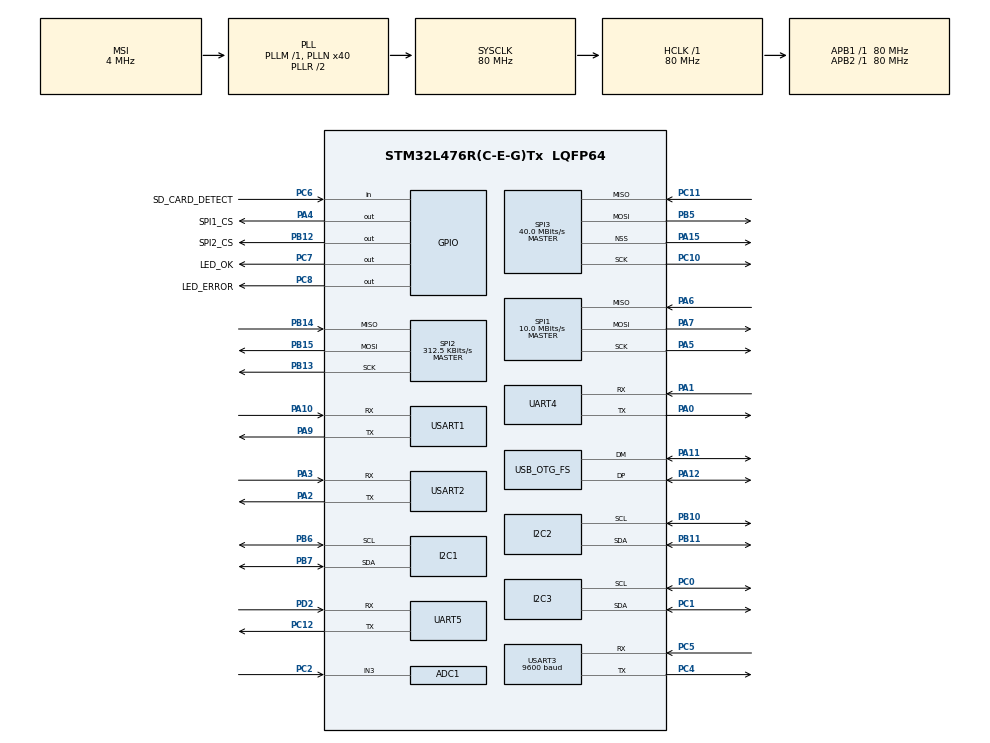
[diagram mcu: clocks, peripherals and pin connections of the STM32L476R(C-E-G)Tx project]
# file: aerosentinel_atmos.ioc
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ADC1.Channel-0\#ChannelRegularConversion=ADC_CHANNEL_3
ADC1.ClockPrescaler=ADC_CLOCK_ASYNC_DIV8
ADC1.NbrOfConversionFlag=1
ADC1.OffsetNumber-0\#ChannelRegularConversion=ADC_OFFSET_NONE
ADC1.Rank-0\#ChannelRegularConversion=1
ADC1.SamplingTime-0\#ChannelRegularConversion=ADC_SAMPLETIME_2CYCLES_5
ADC1.master=1
Dma.ADC1.0.Direction=DMA_PERIPH_TO_MEMORY
Dma.ADC1.0.Instance=DMA1_Channel1
Dma.ADC1.0.MemDataAlignment=DMA_MDATAALIGN_HALFWORD
Dma.ADC1.0.MemInc=DMA_MINC_ENABLE
Dma.ADC1.0.Mode=DMA_NORMAL
Dma.ADC1.0.PeriphDataAlignment=DMA_PDATAALIGN_HALFWORD
Dma.ADC1.0.PeriphInc=DMA_PINC_DISABLE
Dma.ADC1.0.Priority=DMA_PRIORITY_LOW
Dma.Request0=ADC1
FATFS._FS_LOCK=5
FATFS._USE_LFN=1
I2C1.Timing=0x10D19CE4
I2C2.Timing=0x10D19CE4
I2C3.Timing=0x10D19CE4
Mcu.Family=STM32L4
Mcu.Name=STM32L476R(C-E-G)Tx
Mcu.Package=LQFP64
NVIC.DMA1_Channel1_IRQn=true\:0\:0\:false\:false\:true\:false\:true\:true
NVIC.PriorityGroup=NVIC_PRIORITYGROUP_4
NVIC.USART3_IRQn=true\:2\:0\:true\:false\:true\:true\:true\:true
PA0.Mode=Asynchronous
PA0.Signal=UART4_TX
PA1.Mode=Asynchronous
PA1.Signal=UART4_RX
PA10.Mode=Asynchronous
PA10.Signal=USART1_RX
PA11.Mode=Device_Only
PA11.Signal=USB_OTG_FS_DM
PA12.Mode=Device_Only
PA12.Signal=USB_OTG_FS_DP
PA13\ (JTMS-SWDIO).Mode=Trace_Asynchronous_SW
PA13\ (JTMS-SWDIO).Signal=SYS_JTMS-SWDIO
PA14\ (JTCK-SWCLK).Mode=Trace_Asynchronous_SW
PA14\ (JTCK-SWCLK).Signal=SYS_JTCK-SWCLK
PA15\ (JTDI).Mode=NSS_Signal_Hard_Output
PA15\ (JTDI).Signal=SPI3_NSS
PA2.Mode=Asynchronous
PA2.Signal=USART2_TX
PA3.Mode=Asynchronous
PA3.Signal=USART2_RX
PA4.GPIO_Label=SPI1_CS
PA4.Signal=GPIO_Output
PA5.Mode=Full_Duplex_Master
PA5.Signal=SPI1_SCK
PA6.Mode=Full_Duplex_Master
PA6.Signal=SPI1_MISO
PA7.Mode=Full_Duplex_Master
PA7.Signal=SPI1_MOSI
PA9.Mode=Asynchronous
PA9.Signal=USART1_TX
PB10.Mode=I2C
PB10.Signal=I2C2_SCL
PB11.Mode=I2C
PB11.Signal=I2C2_SDA
PB12.GPIO_Label=SPI2_CS
PB12.GPIO_PuPd=GPIO_PULLUP
PB12.PinState=GPIO_PIN_SET
PB12.Signal=GPIO_Output
PB13.GPIO_PuPd=GPIO_PULLUP
PB13.Mode=Full_Duplex_Master
PB13.Signal=SPI2_SCK
PB14.GPIO_PuPd=GPIO_PULLUP
PB14.Mode=Full_Duplex_Master
PB14.Signal=SPI2_MISO
PB15.GPIO_PuPd=GPIO_PULLUP
PB15.Mode=Full_Duplex_Master
PB15.Signal=SPI2_MOSI
PB3\ (JTDO-TRACESWO).Mode=Trace_Asynchronous_SW
PB3\ (JTDO-TRACESWO).Signal=SYS_JTDO-SWO
PB5.Mode=Full_Duplex_Master
PB5.Signal=SPI3_MOSI
PB6.Mode=I2C
PB6.Signal=I2C1_SCL
PB7.Mode=I2C
PB7.Signal=I2C1_SDA
PC0.Mode=I2C
PC0.Signal=I2C3_SCL
PC1.Mode=I2C
PC1.Signal=I2C3_SDA
PC10.Mode=Full_Duplex_Master
PC10.Signal=SPI3_SCK
PC11.Mode=Full_Duplex_Master
PC11.Signal=SPI3_MISO
PC12.Mode=Asynchronous
PC12.Signal=UART5_TX
PC2.Signal=ADCx_IN3
PC4.Mode=Asynchronous
PC4.Signal=USART3_TX
PC5.Mode=Asynchronous
PC5.Signal=USART3_RX
PC6.GPIO_Label=SD_CARD_DETECT
PC6.Signal=GPIO_Input
PC7.GPIO_Label=LED_OK
PC7.Signal=GPIO_Output
PC8.GPIO_Label=LED_ERROR
PC8.Signal=GPIO_Output
PD2.Mode=Asynchronous
PD2.Signal=UART5_RX
ProjectManager.HeapSize=0x200
ProjectManager.StackSize=0x400
ProjectManager.TargetToolchain=STM32CubeIDE
RCC.ADCFreq_Value=48000000
RCC.AHBFreq_Value=80000000
RCC.APB1Freq_Value=80000000
RCC.APB1TimFreq_Value=80000000
RCC.APB2Freq_Value=80000000
RCC.APB2TimFreq_Value=80000000
RCC.CortexFreq_Value=80000000
RCC.HCLKFreq_Value=80000000
RCC.HSE_VALUE=8000000
RCC.HSI_VALUE=16000000
RCC.LSE_VALUE=32768
RCC.MSI_VALUE=4000000
RCC.PLLN=40
RCC.PLLSAI1N=24
RCC.SYSCLKFreq_VALUE=80000000
RCC.SYSCLKSource=RCC_SYSCLKSOURCE_PLLCLK
RCC.USBFreq_Value=48000000
RCC.VCOOutputFreq_Value=160000000
SH.ADCx_IN3.0=ADC1_IN3,IN3-Single-Ended
SPI1.BaudRatePrescaler=SPI_BAUDRATEPRESCALER_8
SPI1.CalculateBaudRate=10.0 MBits/s
SPI1.DataSize=SPI_DATASIZE_8BIT
SPI1.Direction=SPI_DIRECTION_2LINES
SPI1.Mode=SPI_MODE_MASTER
SPI1.VirtualType=VM_MASTER
SPI2.BaudRatePrescaler=SPI_BAUDRATEPRESCALER_256
SPI2.CalculateBaudRate=312.5 KBits/s
SPI2.DataSize=SPI_DATASIZE_8BIT
SPI2.Direction=SPI_DIRECTION_2LINES
SPI2.Mode=SPI_MODE_MASTER
SPI2.VirtualType=VM_MASTER
SPI3.CalculateBaudRate=40.0 MBits/s
SPI3.Direction=SPI_DIRECTION_2LINES
SPI3.Mode=SPI_MODE_MASTER
SPI3.VirtualNSS=VM_NSSHARD
SPI3.VirtualType=VM_MASTER
USART1.VirtualMode-Asynchronous=VM_ASYNC
USART2.VirtualMode-Asynchronous=VM_ASYNC
USART3.BaudRate=9600
USART3.VirtualMode-Asynchronous=VM_ASYNC
USB_OTG_FS.VirtualMode=Device_Only
VP_FATFS_VS_Generic.Mode=User_defined
board=custom

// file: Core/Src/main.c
/* USER CODE BEGIN Header */
/**
  ******************************************************************************
  * @file           : main.c
  * @brief          : Main program body
  ******************************************************************************
  * @attention
  *
  * Copyright (c) 2025 STMicroelectronics.
  * All rights reserved.
  *
  * This software is licensed under terms that can be found in the LICENSE file
  * in the root directory of this software component.
  * If no LICENSE file comes with this software, it is provided AS-IS.
  *
  ******************************************************************************
  */
/* USER CODE END Header */
#include "main.h"
#include "fatfs.h"

/* USER CODE BEGIN Includes */
#include <stdio.h>
#include <manager_h/manager.h>
#include "tools_h/configuration.h"
/* USER CODE END Includes */

ADC_HandleTypeDef hadc1;
DMA_HandleTypeDef hdma_adc1;

I2C_HandleTypeDef hi2c1;
I2C_HandleTypeDef hi2c2;
I2C_HandleTypeDef hi2c3;

SPI_HandleTypeDef hspi1;
SPI_HandleTypeDef hspi2;
SPI_HandleTypeDef hspi3;

UART_HandleTypeDef huart4;
UART_HandleTypeDef huart5;
UART_HandleTypeDef huart1;
UART_HandleTypeDef huart2;
UART_HandleTypeDef huart3;

PCD_HandleTypeDef hpcd_USB_OTG_FS;

void SystemClock_Config(void);
void PeriphCommonClock_Config(void);
static void MX_GPIO_Init(void);
static void MX_DMA_Init(void);
static void MX_ADC1_Init(void);
static void MX_I2C1_Init(void);
static void MX_I2C2_Init(void);
static void MX_I2C3_Init(void);
static void MX_SPI1_Init(void);
static void MX_SPI2_Init(void);
static void MX_SPI3_Init(void);
static void MX_UART4_Init(void);
static void MX_UART5_Init(void);
static void MX_USART1_UART_Init(void);
static void MX_USART2_UART_Init(void);
static void MX_USART3_UART_Init(void);
static void MX_USB_OTG_FS_PCD_Init(void);

/* USER CODE BEGIN 0 */
int _write(int file, char *ptr, int len){
	int i=0;
	for(i=0 ; i < len ; i++){
		ITM_SendChar((*ptr++));
	}
	return len;
}

/* USER CODE END 0 */

int main(void)
{

  /* MCU Configuration--------------------------------------------------------*/

  /* Reset of all peripherals, Initializes the Flash interface and the Systick. */
  HAL_Init();

  /* Configure the system clock */
  SystemClock_Config();

  /* Configure the peripherals common clocks */
  PeriphCommonClock_Config();

  /* Initialize all configured peripherals */
  MX_GPIO_Init();
  MX_DMA_Init();
  MX_ADC1_Init();
  MX_I2C1_Init();
  MX_I2C2_Init();
  MX_I2C3_Init();
  MX_SPI1_Init();
  MX_SPI2_Init();
  MX_SPI3_Init();
  MX_UART4_Init();
  MX_UART5_Init();
  MX_USART1_UART_Init();
  MX_USART2_UART_Init();
  MX_USART3_UART_Init();
  MX_USB_OTG_FS_PCD_Init();
  MX_FATFS_Init();
  /* USER CODE BEGIN 2 */
  HAL_Delay(500);
  SystemState ret = Manager_Main(); // Launching the Control Center Main Handling Function
  switch(ret){
		case STATUS_GRACEFUL_SHUTDOWN:
			printf("Graceful shutdown. \n"); // Graceful shutdown of the module
			break;
		case STATUS_ERROR:
			printf("You should not be here. Error Detected. \n"); // The code should jump to this statement only in USB Mode
			break;
		default:
			printf("You should not be here \n"); // Something went wrong :(
			break;
	}
  /* USER CODE END 2 */

  /* Infinite loop */
  while (1)
  {

  }
}

void SystemClock_Config(void)
{
  RCC_OscInitTypeDef RCC_OscInitStruct = {0};
  RCC_ClkInitTypeDef RCC_ClkInitStruct = {0};

  /** Configure the main internal regulator output voltage
  */
  if (HAL_PWREx_ControlVoltageScaling(PWR_REGULATOR_VOLTAGE_SCALE1) != HAL_OK)
  {
    Error_Handler();
  }

  /** Initializes the RCC Oscillators according to the specified parameters
  * in the RCC_OscInitTypeDef structure.
  */
  RCC_OscInitStruct.OscillatorType = RCC_OSCILLATORTYPE_MSI;
  RCC_OscInitStruct.MSIState = RCC_MSI_ON;
  RCC_OscInitStruct.MSICalibrationValue = 0;
  RCC_OscInitStruct.MSIClockRange = RCC_MSIRANGE_6;
  RCC_OscInitStruct.PLL.PLLState = RCC_PLL_ON;
  RCC_OscInitStruct.PLL.PLLSource = RCC_PLLSOURCE_MSI;
  RCC_OscInitStruct.PLL.PLLM = 1;
  RCC_OscInitStruct.PLL.PLLN = 40;
  RCC_OscInitStruct.PLL.PLLP = RCC_PLLP_DIV7;
  RCC_OscInitStruct.PLL.PLLQ = RCC_PLLQ_DIV2;
  RCC_OscInitStruct.PLL.PLLR = RCC_PLLR_DIV2;
  if (HAL_RCC_OscConfig(&RCC_OscInitStruct) != HAL_OK)
  {
    Error_Handler();
  }

  /** Initializes the CPU, AHB and APB buses clocks
  */
  RCC_ClkInitStruct.ClockType = RCC_CLOCKTYPE_HCLK|RCC_CLOCKTYPE_SYSCLK
                              |RCC_CLOCKTYPE_PCLK1|RCC_CLOCKTYPE_PCLK2;
  RCC_ClkInitStruct.SYSCLKSource = RCC_SYSCLKSOURCE_PLLCLK;
  RCC_ClkInitStruct.AHBCLKDivider = RCC_SYSCLK_DIV1;
  RCC_ClkInitStruct.APB1CLKDivider = RCC_HCLK_DIV1;
  RCC_ClkInitStruct.APB2CLKDivider = RCC_HCLK_DIV1;

  if (HAL_RCC_ClockConfig(&RCC_ClkInitStruct, FLASH_LATENCY_4) != HAL_OK)
  {
    Error_Handler();
  }
}

void PeriphCommonClock_Config(void)
{
  RCC_PeriphCLKInitTypeDef PeriphClkInit = {0};

  /** Initializes the peripherals clock
  */
  PeriphClkInit.PeriphClockSelection = RCC_PERIPHCLK_USB|RCC_PERIPHCLK_ADC;
  PeriphClkInit.AdcClockSelection = RCC_ADCCLKSOURCE_PLLSAI1;
  PeriphClkInit.UsbClockSelection = RCC_USBCLKSOURCE_PLLSAI1;
  PeriphClkInit.PLLSAI1.PLLSAI1Source = RCC_PLLSOURCE_MSI;
  PeriphClkInit.PLLSAI1.PLLSAI1M = 1;
  PeriphClkInit.PLLSAI1.PLLSAI1N = 24;
  PeriphClkInit.PLLSAI1.PLLSAI1P = RCC_PLLP_DIV7;
  PeriphClkInit.PLLSAI1.PLLSAI1Q = RCC_PLLQ_DIV2;
  PeriphClkInit.PLLSAI1.PLLSAI1R = RCC_PLLR_DIV2;
  PeriphClkInit.PLLSAI1.PLLSAI1ClockOut = RCC_PLLSAI1_48M2CLK|RCC_PLLSAI1_ADC1CLK;
  if (HAL_RCCEx_PeriphCLKConfig(&PeriphClkInit) != HAL_OK)
  {
    Error_Handler();
  }
}

static void MX_ADC1_Init(void)
{

  ADC_MultiModeTypeDef multimode = {0};
  ADC_ChannelConfTypeDef sConfig = {0};

  /** Common config
  */
  hadc1.Instance = ADC1;
  hadc1.Init.ClockPrescaler = ADC_CLOCK_ASYNC_DIV8;
  hadc1.Init.Resolution = ADC_RESOLUTION_12B;
  hadc1.Init.DataAlign = ADC_DATAALIGN_RIGHT;
  hadc1.Init.ScanConvMode = ADC_SCAN_DISABLE;
  hadc1.Init.EOCSelection = ADC_EOC_SINGLE_CONV;
  hadc1.Init.LowPowerAutoWait = DISABLE;
  hadc1.Init.ContinuousConvMode = DISABLE;
  hadc1.Init.NbrOfConversion = 1;
  hadc1.Init.DiscontinuousConvMode = DISABLE;
  hadc1.Init.ExternalTrigConv = ADC_SOFTWARE_START;
  hadc1.Init.ExternalTrigConvEdge = ADC_EXTERNALTRIGCONVEDGE_NONE;
  hadc1.Init.DMAContinuousRequests = DISABLE;
  hadc1.Init.Overrun = ADC_OVR_DATA_PRESERVED;
  hadc1.Init.OversamplingMode = DISABLE;
  if (HAL_ADC_Init(&hadc1) != HAL_OK)
  {
    Error_Handler();
  }

  /** Configure the ADC multi-mode
  */
  multimode.Mode = ADC_MODE_INDEPENDENT;
  if (HAL_ADCEx_MultiModeConfigChannel(&hadc1, &multimode) != HAL_OK)
  {
    Error_Handler();
  }

  /** Configure Regular Channel
  */
  sConfig.Channel = ADC_CHANNEL_3;
  sConfig.Rank = ADC_REGULAR_RANK_1;
  sConfig.SamplingTime = ADC_SAMPLETIME_2CYCLES_5;
  sConfig.SingleDiff = ADC_SINGLE_ENDED;
  sConfig.OffsetNumber = ADC_OFFSET_NONE;
  sConfig.Offset = 0;
  if (HAL_ADC_ConfigChannel(&hadc1, &sConfig) != HAL_OK)
  {
    Error_Handler();
  }

}

static void MX_I2C1_Init(void)
{

  hi2c1.Instance = I2C1;
  hi2c1.Init.Timing = 0x10D19CE4;
  hi2c1.Init.OwnAddress1 = 0;
  hi2c1.Init.AddressingMode = I2C_ADDRESSINGMODE_7BIT;
  hi2c1.Init.DualAddressMode = I2C_DUALADDRESS_DISABLE;
  hi2c1.Init.OwnAddress2 = 0;
  hi2c1.Init.OwnAddress2Masks = I2C_OA2_NOMASK;
  hi2c1.Init.GeneralCallMode = I2C_GENERALCALL_DISABLE;
  hi2c1.Init.NoStretchMode = I2C_NOSTRETCH_DISABLE;
  if (HAL_I2C_Init(&hi2c1) != HAL_OK)
  {
    Error_Handler();
  }

  /** Configure Analogue filter
  */
  if (HAL_I2CEx_ConfigAnalogFilter(&hi2c1, I2C_ANALOGFILTER_ENABLE) != HAL_OK)
  {
    Error_Handler();
  }

  /** Configure Digital filter
  */
  if (HAL_I2CEx_ConfigDigitalFilter(&hi2c1, 0) != HAL_OK)
  {
    Error_Handler();
  }

}

static void MX_I2C2_Init(void)
{

  hi2c2.Instance = I2C2;
  hi2c2.Init.Timing = 0x10D19CE4;
  hi2c2.Init.OwnAddress1 = 0;
  hi2c2.Init.AddressingMode = I2C_ADDRESSINGMODE_7BIT;
  hi2c2.Init.DualAddressMode = I2C_DUALADDRESS_DISABLE;
  hi2c2.Init.OwnAddress2 = 0;
  hi2c2.Init.OwnAddress2Masks = I2C_OA2_NOMASK;
  hi2c2.Init.GeneralCallMode = I2C_GENERALCALL_DISABLE;
  hi2c2.Init.NoStretchMode = I2C_NOSTRETCH_DISABLE;
  if (HAL_I2C_Init(&hi2c2) != HAL_OK)
  {
    Error_Handler();
  }

  /** Configure Analogue filter
  */
  if (HAL_I2CEx_ConfigAnalogFilter(&hi2c2, I2C_ANALOGFILTER_ENABLE) != HAL_OK)
  {
    Error_Handler();
  }

  /** Configure Digital filter
  */
  if (HAL_I2CEx_ConfigDigitalFilter(&hi2c2, 0) != HAL_OK)
  {
    Error_Handler();
  }

}

static void MX_I2C3_Init(void)
{

  hi2c3.Instance = I2C3;
  hi2c3.Init.Timing = 0x10D19CE4;
  hi2c3.Init.OwnAddress1 = 0;
  hi2c3.Init.AddressingMode = I2C_ADDRESSINGMODE_7BIT;
  hi2c3.Init.DualAddressMode = I2C_DUALADDRESS_DISABLE;
  hi2c3.Init.OwnAddress2 = 0;
  hi2c3.Init.OwnAddress2Masks = I2C_OA2_NOMASK;
  hi2c3.Init.GeneralCallMode = I2C_GENERALCALL_DISABLE;
  hi2c3.Init.NoStretchMode = I2C_NOSTRETCH_DISABLE;
  if (HAL_I2C_Init(&hi2c3) != HAL_OK)
  {
    Error_Handler();
  }

  /** Configure Analogue filter
  */
  if (HAL_I2CEx_ConfigAnalogFilter(&hi2c3, I2C_ANALOGFILTER_ENABLE) != HAL_OK)
  {
    Error_Handler();
  }

  /** Configure Digital filter
  */
  if (HAL_I2CEx_ConfigDigitalFilter(&hi2c3, 0) != HAL_OK)
  {
    Error_Handler();
  }

}

static void MX_SPI1_Init(void)
{

  /* SPI1 parameter configuration*/
  hspi1.Instance = SPI1;
  hspi1.Init.Mode = SPI_MODE_MASTER;
  hspi1.Init.Direction = SPI_DIRECTION_2LINES;
  hspi1.Init.DataSize = SPI_DATASIZE_8BIT;
  hspi1.Init.CLKPolarity = SPI_POLARITY_LOW;
  hspi1.Init.CLKPhase = SPI_PHASE_1EDGE;
  hspi1.Init.NSS = SPI_NSS_SOFT;
  hspi1.Init.BaudRatePrescaler = SPI_BAUDRATEPRESCALER_8;
  hspi1.Init.FirstBit = SPI_FIRSTBIT_MSB;
  hspi1.Init.TIMode = SPI_TIMODE_DISABLE;
  hspi1.Init.CRCCalculation = SPI_CRCCALCULATION_DISABLE;
  hspi1.Init.CRCPolynomial = 7;
  hspi1.Init.CRCLength = SPI_CRC_LENGTH_DATASIZE;
  hspi1.Init.NSSPMode = SPI_NSS_PULSE_ENABLE;
  if (HAL_SPI_Init(&hspi1) != HAL_OK)
  {
    Error_Handler();
  }

}

static void MX_SPI2_Init(void)
{

  /* SPI2 parameter configuration*/
  hspi2.Instance = SPI2;
  hspi2.Init.Mode = SPI_MODE_MASTER;
  hspi2.Init.Direction = SPI_DIRECTION_2LINES;
  hspi2.Init.DataSize = SPI_DATASIZE_8BIT;
  hspi2.Init.CLKPolarity = SPI_POLARITY_LOW;
  hspi2.Init.CLKPhase = SPI_PHASE_1EDGE;
  hspi2.Init.NSS = SPI_NSS_SOFT;
  hspi2.Init.BaudRatePrescaler = SPI_BAUDRATEPRESCALER_256;
  hspi2.Init.FirstBit = SPI_FIRSTBIT_MSB;
  hspi2.Init.TIMode = SPI_TIMODE_DISABLE;
  hspi2.Init.CRCCalculation = SPI_CRCCALCULATION_DISABLE;
  hspi2.Init.CRCPolynomial = 7;
  hspi2.Init.CRCLength = SPI_CRC_LENGTH_DATASIZE;
  hspi2.Init.NSSPMode = SPI_NSS_PULSE_ENABLE;
  if (HAL_SPI_Init(&hspi2) != HAL_OK)
  {
    Error_Handler();
  }

}

static void MX_SPI3_Init(void)
{

  /* SPI3 parameter configuration*/
  hspi3.Instance = SPI3;
  hspi3.Init.Mode = SPI_MODE_MASTER;
  hspi3.Init.Direction = SPI_DIRECTION_2LINES;
  hspi3.Init.DataSize = SPI_DATASIZE_4BIT;
  hspi3.Init.CLKPolarity = SPI_POLARITY_LOW;
  hspi3.Init.CLKPhase = SPI_PHASE_1EDGE;
  hspi3.Init.NSS = SPI_NSS_HARD_OUTPUT;
  hspi3.Init.BaudRatePrescaler = SPI_BAUDRATEPRESCALER_2;
  hspi3.Init.FirstBit = SPI_FIRSTBIT_MSB;
  hspi3.Init.TIMode = SPI_TIMODE_DISABLE;
  hspi3.Init.CRCCalculation = SPI_CRCCALCULATION_DISABLE;
  hspi3.Init.CRCPolynomial = 7;
  hspi3.Init.CRCLength = SPI_CRC_LENGTH_DATASIZE;
  hspi3.Init.NSSPMode = SPI_NSS_PULSE_ENABLE;
  if (HAL_SPI_Init(&hspi3) != HAL_OK)
  {
    Error_Handler();
  }

}

static void MX_UART4_Init(void)
{

  huart4.Instance = UART4;
  huart4.Init.BaudRate = 115200;
  huart4.Init.WordLength = UART_WORDLENGTH_8B;
  huart4.Init.StopBits = UART_STOPBITS_1;
  huart4.Init.Parity = UART_PARITY_NONE;
  huart4.Init.Mode = UART_MODE_TX_RX;
  huart4.Init.HwFlowCtl = UART_HWCONTROL_NONE;
  huart4.Init.OverSampling = UART_OVERSAMPLING_16;
  huart4.Init.OneBitSampling = UART_ONE_BIT_SAMPLE_DISABLE;
  huart4.AdvancedInit.AdvFeatureInit = UART_ADVFEATURE_NO_INIT;
  if (HAL_UART_Init(&huart4) != HAL_OK)
  {
    Error_Handler();
  }

}

static void MX_UART5_Init(void)
{

  huart5.Instance = UART5;
  huart5.Init.BaudRate = 115200;
  huart5.Init.WordLength = UART_WORDLENGTH_8B;
  huart5.Init.StopBits = UART_STOPBITS_1;
  huart5.Init.Parity = UART_PARITY_NONE;
  huart5.Init.Mode = UART_MODE_TX_RX;
  huart5.Init.HwFlowCtl = UART_HWCONTROL_NONE;
  huart5.Init.OverSampling = UART_OVERSAMPLING_16;
  huart5.Init.OneBitSampling = UART_ONE_BIT_SAMPLE_DISABLE;
  huart5.AdvancedInit.AdvFeatureInit = UART_ADVFEATURE_NO_INIT;
  if (HAL_UART_Init(&huart5) != HAL_OK)
  {
    Error_Handler();
  }

}

static void MX_USART1_UART_Init(void)
{

  huart1.Instance = USART1;
  huart1.Init.BaudRate = 115200;
  huart1.Init.WordLength = UART_WORDLENGTH_8B;
  huart1.Init.StopBits = UART_STOPBITS_1;
  huart1.Init.Parity = UART_PARITY_NONE;
  huart1.Init.Mode = UART_MODE_TX_RX;
  huart1.Init.HwFlowCtl = UART_HWCONTROL_NONE;
  huart1.Init.OverSampling = UART_OVERSAMPLING_16;
  huart1.Init.OneBitSampling = UART_ONE_BIT_SAMPLE_DISABLE;
  huart1.AdvancedInit.AdvFeatureInit = UART_ADVFEATURE_NO_INIT;
  if (HAL_UART_Init(&huart1) != HAL_OK)
  {
    Error_Handler();
  }

}

static void MX_USART2_UART_Init(void)
{

  huart2.Instance = USART2;
  huart2.Init.BaudRate = 115200;
  huart2.Init.WordLength = UART_WORDLENGTH_8B;
  huart2.Init.StopBits = UART_STOPBITS_1;
  huart2.Init.Parity = UART_PARITY_NONE;
  huart2.Init.Mode = UART_MODE_TX_RX;
  huart2.Init.HwFlowCtl = UART_HWCONTROL_NONE;
  huart2.Init.OverSampling = UART_OVERSAMPLING_16;
  huart2.Init.OneBitSampling = UART_ONE_BIT_SAMPLE_DISABLE;
  huart2.AdvancedInit.AdvFeatureInit = UART_ADVFEATURE_NO_INIT;
  if (HAL_UART_Init(&huart2) != HAL_OK)
  {
    Error_Handler();
  }

}

static void MX_USART3_UART_Init(void)
{

  huart3.Instance = USART3;
  huart3.Init.BaudRate = 9600;
  huart3.Init.WordLength = UART_WORDLENGTH_8B;
  huart3.Init.StopBits = UART_STOPBITS_1;
  huart3.Init.Parity = UART_PARITY_NONE;
  huart3.Init.Mode = UART_MODE_TX_RX;
  huart3.Init.HwFlowCtl = UART_HWCONTROL_NONE;
  huart3.Init.OverSampling = UART_OVERSAMPLING_16;
  huart3.Init.OneBitSampling = UART_ONE_BIT_SAMPLE_DISABLE;
  huart3.AdvancedInit.AdvFeatureInit = UART_ADVFEATURE_NO_INIT;
  if (HAL_UART_Init(&huart3) != HAL_OK)
  {
    Error_Handler();
  }

}

static void MX_USB_OTG_FS_PCD_Init(void)
{

  hpcd_USB_OTG_FS.Instance = USB_OTG_FS;
  hpcd_USB_OTG_FS.Init.dev_endpoints = 6;
  hpcd_USB_OTG_FS.Init.speed = PCD_SPEED_FULL;
  hpcd_USB_OTG_FS.Init.phy_itface = PCD_PHY_EMBEDDED;
  hpcd_USB_OTG_FS.Init.Sof_enable = DISABLE;
  hpcd_USB_OTG_FS.Init.low_power_enable = DISABLE;
  hpcd_USB_OTG_FS.Init.lpm_enable = DISABLE;
  hpcd_USB_OTG_FS.Init.battery_charging_enable = DISABLE;
  hpcd_USB_OTG_FS.Init.use_dedicated_ep1 = DISABLE;
  hpcd_USB_OTG_FS.Init.vbus_sensing_enable = DISABLE;
  if (HAL_PCD_Init(&hpcd_USB_OTG_FS) != HAL_OK)
  {
    Error_Handler();
  }

}

static void MX_DMA_Init(void)
{

  /* DMA controller clock enable */
  __HAL_RCC_DMA1_CLK_ENABLE();

  /* DMA interrupt init */
  /* DMA1_Channel1_IRQn interrupt configuration */
  HAL_NVIC_SetPriority(DMA1_Channel1_IRQn, 0, 0);
  HAL_NVIC_EnableIRQ(DMA1_Channel1_IRQn);

}

static void MX_GPIO_Init(void)
{
  GPIO_InitTypeDef GPIO_InitStruct = {0};

  /* GPIO Ports Clock Enable */
  __HAL_RCC_GPIOC_CLK_ENABLE();
  __HAL_RCC_GPIOA_CLK_ENABLE();
  __HAL_RCC_GPIOB_CLK_ENABLE();
  __HAL_RCC_GPIOD_CLK_ENABLE();

  /*Configure GPIO pin Output Level */
  HAL_GPIO_WritePin(SPI1_CS_GPIO_Port, SPI1_CS_Pin, GPIO_PIN_RESET);

  /*Configure GPIO pin Output Level */
  HAL_GPIO_WritePin(SPI2_CS_GPIO_Port, SPI2_CS_Pin, GPIO_PIN_SET);

  /*Configure GPIO pin Output Level */
  HAL_GPIO_WritePin(GPIOC, LED_OK_Pin|LED_ERROR_Pin, GPIO_PIN_RESET);

  /*Configure GPIO pin : SPI1_CS_Pin */
  GPIO_InitStruct.Pin = SPI1_CS_Pin;
  GPIO_InitStruct.Mode = GPIO_MODE_OUTPUT_PP;
  GPIO_InitStruct.Pull = GPIO_NOPULL;
  GPIO_InitStruct.Speed = GPIO_SPEED_FREQ_LOW;
  HAL_GPIO_Init(SPI1_CS_GPIO_Port, &GPIO_InitStruct);

  /*Configure GPIO pin : SPI2_CS_Pin */
  GPIO_InitStruct.Pin = SPI2_CS_Pin;
  GPIO_InitStruct.Mode = GPIO_MODE_OUTPUT_PP;
  GPIO_InitStruct.Pull = GPIO_PULLUP;
  GPIO_InitStruct.Speed = GPIO_SPEED_FREQ_LOW;
  HAL_GPIO_Init(SPI2_CS_GPIO_Port, &GPIO_InitStruct);

  /*Configure GPIO pin : SD_CARD_DETECT_Pin */
  GPIO_InitStruct.Pin = SD_CARD_DETECT_Pin;
  GPIO_InitStruct.Mode = GPIO_MODE_INPUT;
  GPIO_InitStruct.Pull = GPIO_NOPULL;
  HAL_GPIO_Init(SD_CARD_DETECT_GPIO_Port, &GPIO_InitStruct);

  /*Configure GPIO pins : LED_OK_Pin LED_ERROR_Pin */
  GPIO_InitStruct.Pin = LED_OK_Pin|LED_ERROR_Pin;
  GPIO_InitStruct.Mode = GPIO_MODE_OUTPUT_PP;
  GPIO_InitStruct.Pull = GPIO_NOPULL;
  GPIO_InitStruct.Speed = GPIO_SPEED_FREQ_LOW;
  HAL_GPIO_Init(GPIOC, &GPIO_InitStruct);

}

void Error_Handler(void)
{
  __disable_irq();
  while (1)
  {
  }
}
